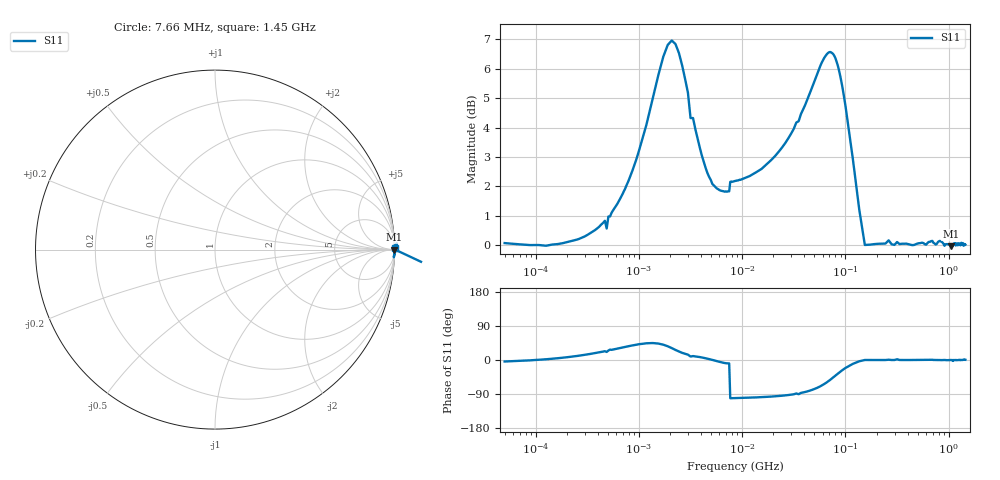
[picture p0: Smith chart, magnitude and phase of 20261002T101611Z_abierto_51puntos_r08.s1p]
! piloto_saltos / abierto_51puntos / r08
# HZ S RI R 50
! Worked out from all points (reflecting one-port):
!   251 points, 50 kHz to 1.45 GHz, reference 50 ohm
!   lowest |S11| = 0.0 dB at 1.045 GHz (marker M1), VSWR 560.97, Z = 2.76e+04 - j3.34e+03 ohm
!   phase of S11 starts at -4 deg and turns +5 deg over the sweep
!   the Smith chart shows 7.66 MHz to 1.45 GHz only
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50000  1.006 -0.0697
183000  1.003 0.1056
487000  0.9949 0.3875
525000  0.9934 0.516
658000  1.021 0.6308
1180000  1.15 1.114
1720000  1.591 1.355
2080000  1.902 1.16
2440000  1.96 0.8074
3160000  1.624 0.262
5140000  1.271 0.0047
7480000  1.22 -0.1928
7660000  -0.2413 -1.258
8560000  -0.2345 -1.265
1.72e7  -0.1754 -1.361
3.16e7  -0.0114 -1.577
3.52e7  -0.0074 -1.625
4.6e7  0.3114 -1.801
5.68e7  0.6982 -1.888
6.4e7  1.005 -1.839
7.3e7  1.367 -1.626
8.56e7  1.645 -1.136
9.82e7  1.627 -0.6737
1.18e8  1.378 -0.2454
1.54e8  1.001 0.000834
4.06e8  1.004 -0.00053
1.045e9  0.9964 -0.000429
1.45e9  1.002 0.0112
